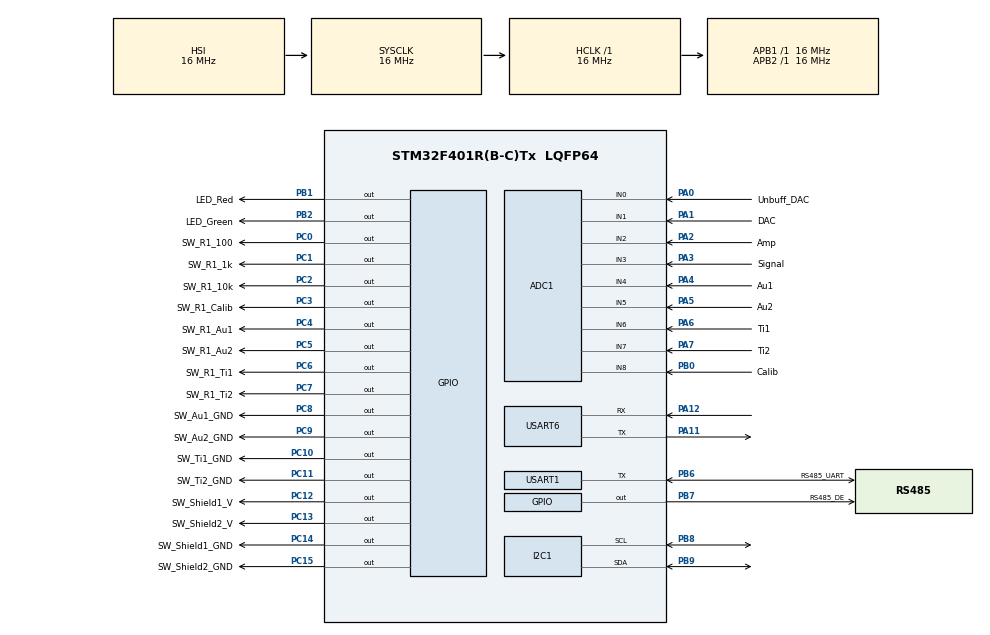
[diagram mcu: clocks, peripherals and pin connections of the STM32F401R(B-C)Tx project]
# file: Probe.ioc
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ADC1.Channel-0\#ChannelRegularConversion=ADC_CHANNEL_0
ADC1.ContinuousConvMode=DISABLE
ADC1.DiscontinuousConvMode=ENABLE
ADC1.NbrOfConversionFlag=1
ADC1.Rank-0\#ChannelRegularConversion=1
ADC1.SamplingTime-0\#ChannelRegularConversion=ADC_SAMPLETIME_3CYCLES
ADC1.ScanConvMode=ENABLE
ADC1.master=1
Mcu.Family=STM32F4
Mcu.Name=STM32F401R(B-C)Tx
Mcu.Package=LQFP64
NVIC.PriorityGroup=NVIC_PRIORITYGROUP_4
NVIC.USART1_IRQn=true\:0\:0\:false\:true\:true\:1\:true\:true\:true
NVIC.USART6_IRQn=true\:0\:0\:false\:true\:true\:2\:true\:true\:true
PA0-WKUP.GPIO_Label=Unbuff_DAC
PA0-WKUP.Signal=ADCx_IN0
PA1.GPIO_Label=DAC
PA1.Signal=ADCx_IN1
PA11.Mode=Asynchronous
PA11.Signal=USART6_TX
PA12.Mode=Asynchronous
PA12.Signal=USART6_RX
PA13.Mode=Serial_Wire
PA13.Signal=SYS_JTMS-SWDIO
PA14.Mode=Serial_Wire
PA14.Signal=SYS_JTCK-SWCLK
PA2.GPIO_Label=Amp
PA2.Signal=ADCx_IN2
PA3.GPIO_Label=Signal
PA3.Signal=ADCx_IN3
PA4.GPIO_Label=Au1
PA4.Signal=ADCx_IN4
PA5.GPIO_Label=Au2
PA5.Signal=ADCx_IN5
PA6.GPIO_Label=Ti1
PA6.Signal=ADCx_IN6
PA7.GPIO_Label=Ti2
PA7.Signal=ADCx_IN7
PB0.GPIO_Label=Calib
PB0.Signal=ADCx_IN8
PB1.GPIO_Label=LED_Red
PB1.Signal=GPIO_Output
PB2.GPIO_Label=LED_Green
PB2.Signal=GPIO_Output
PB6.GPIO_Label=RS485_UART
PB6.Mode=Half_duplex(single_wire_mode)
PB6.Signal=USART1_TX
PB7.GPIO_Label=RS485_DE
PB7.Signal=GPIO_Output
PB8.Mode=I2C
PB8.Signal=I2C1_SCL
PB9.Mode=I2C
PB9.Signal=I2C1_SDA
PC0.GPIO_Label=SW_R1_100
PC0.Signal=GPIO_Output
PC1.GPIO_Label=SW_R1_1k
PC1.Signal=GPIO_Output
PC10.GPIO_Label=SW_Ti1_GND
PC10.Signal=GPIO_Output
PC11.GPIO_Label=SW_Ti2_GND
PC11.Signal=GPIO_Output
PC12.GPIO_Label=SW_Shield1_V
PC12.Signal=GPIO_Output
PC13-ANTI_TAMP.GPIO_Label=SW_Shield2_V
PC13-ANTI_TAMP.Signal=GPIO_Output
PC14-OSC32_IN.GPIO_Label=SW_Shield1_GND
PC14-OSC32_IN.Signal=GPIO_Output
PC15-OSC32_OUT.GPIO_Label=SW_Shield2_GND
PC15-OSC32_OUT.Signal=GPIO_Output
PC2.GPIO_Label=SW_R1_10k
PC2.Signal=GPIO_Output
PC3.GPIO_Label=SW_R1_Calib
PC3.Signal=GPIO_Output
PC4.GPIO_Label=SW_R1_Au1
PC4.Signal=GPIO_Output
PC5.GPIO_Label=SW_R1_Au2
PC5.Signal=GPIO_Output
PC6.GPIO_Label=SW_R1_Ti1
PC6.Signal=GPIO_Output
PC7.GPIO_Label=SW_R1_Ti2
PC7.Signal=GPIO_Output
PC8.GPIO_Label=SW_Au1_GND
PC8.Signal=GPIO_Output
PC9.GPIO_Label=SW_Au2_GND
PC9.Signal=GPIO_Output
ProjectManager.HeapSize=0x200
ProjectManager.StackSize=0x400
ProjectManager.TargetToolchain=Makefile
RCC.AHBFreq_Value=16000000
RCC.APB1Freq_Value=16000000
RCC.APB2Freq_Value=16000000
RCC.CortexFreq_Value=16000000
RCC.HSE_VALUE=25000000
RCC.HSI_VALUE=16000000
RCC.LSE_VALUE=32768
RCC.SYSCLKFreq_VALUE=16000000
RCC.VCOOutputFreq_Value=192000000
SH.ADCx_IN0.0=ADC1_IN0,IN0
SH.ADCx_IN1.0=ADC1_IN1,IN1
SH.ADCx_IN2.0=ADC1_IN2,IN2
SH.ADCx_IN3.0=ADC1_IN3,IN3
SH.ADCx_IN4.0=ADC1_IN4,IN4
SH.ADCx_IN5.0=ADC1_IN5,IN5
SH.ADCx_IN6.0=ADC1_IN6,IN6
SH.ADCx_IN7.0=ADC1_IN7,IN7
SH.ADCx_IN8.0=ADC1_IN8,IN8
TIM10.Period=65535
TIM10.Prescaler=16-1
USART1.VirtualMode=VM_ASYNC
USART6.VirtualMode=VM_ASYNC
VP_TIM10_VS_ClockSourceINT.Mode=Enable_Timer
board=custom

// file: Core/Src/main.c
/* USER CODE BEGIN Header */
/**
 ******************************************************************************
 * @file           : main.c
 * @brief          : Main program body
 ******************************************************************************
 * @attention
 *
 * Copyright (c) 2024 STMicroelectronics.
 * All rights reserved.
 *
 * This software is licensed under terms that can be found in the LICENSE file
 * in the root directory of this software component.
 * If no LICENSE file comes with this software, it is provided AS-IS.
 *
 ******************************************************************************
 */
/* USER CODE END Header */
#include "main.h"
#include "adc.h"
#include "i2c.h"
#include "tim.h"
#include "usart.h"
#include "gpio.h"

/* USER CODE BEGIN Includes */
#include "voltage.h"
#include "salinity.h"
#include "RS485.h"
#include "ProbeConfig.h"
#include <stdio.h>
#include <string.h>
/* USER CODE END Includes */

/* USER CODE BEGIN PTD */
typedef enum
{
    TASK_NONE = 0x00,
    TASK_MEASURE_TEMPERATURE = 0x01,
    TASK_MEASURE_DEPTH = 0x02,
    TASK_MEASURE_RESISTANCE = 0x03,
    TASK_MEASURE_CONDUCTIVITY = 0x04,
    TASK_MEASURE_SALINITY = 0x05,
    TASK_WAITING_FOR_CONFIG = 0x06,
    TASK_WAITING_FOR_CALIB_SALINITY = 0x07,
    TASK_CALIBRATING = 0x08,
} Task;

typedef enum
{
    SAMPLE_VOLTAGE = 0x00,
    SAMPLE_RESISTANCE = 0x01,
    VALUE_CONDUCTIVITY = 0x02,
    VALUE_TEMPERATURE = 0x03,
    VALUE_PRESSURE = 0x04,
    VALUE_SALINITY = 0x05,
} Sample_Type;
/* USER CODE END PTD */

/* USER CODE BEGIN PV */
Task current_task = TASK_NONE;
uint8_t rx_buffer[CONFIG_PACKET_SIZE];
RS485_Status status = STATUS_IDLE;
ProbeConfig_TypeDef probe_config = {Au_Shielded, R1_100, BIDIRECTIONAL, 512, 512, 1, 2, STANARD_CONDUCTIVITY, 50};
double calib_salinity = 0;
/* USER CODE END PV */

void SystemClock_Config(void);
static void MX_NVIC_Init(void);
/* USER CODE BEGIN PFP */
void rs485_transmit(uint8_t *data, uint16_t size);
void rs485_transmit_double(double value);
void rs485_receive_IT(uint16_t size);
void transmit_sample_data_readable(void *samples, uint16_t num_samples, Sample_Type sample_type);
void transmit_sample_data_binary(void *samples, uint16_t num_samples, Sample_Type sample_type);
/* USER CODE END PFP */

int main(void)
{

    /* MCU Configuration--------------------------------------------------------*/

    /* Reset of all peripherals, Initializes the Flash interface and the Systick. */
    HAL_Init();

    /* Configure the system clock */
    SystemClock_Config();

    /* Initialize all configured peripherals */
    MX_GPIO_Init();
    MX_ADC1_Init();
    MX_I2C1_Init();
    MX_USART1_UART_Init();
    MX_USART6_UART_Init();
    MX_TIM10_Init();

    /* Initialize interrupts */
    MX_NVIC_Init();
    /* USER CODE BEGIN 2 */
    voltage_init();
    /* USER CODE END 2 */

    /* Infinite loop */
    /* USER CODE BEGIN WHILE */
    double pressure, temperature, resistance, conductivity, salinity;
    VoltageSample_TypeDef voltage_samples[MAX_SAMPLES];
    ResistanceSample_TypeDef resistance_samples[MAX_SAMPLES];
    memset(voltage_samples, 0, sizeof(voltage_samples));
    rs485_receive_IT(1);

    while (1)
    {

        switch (current_task)
        {
        case TASK_NONE:
            HAL_GPIO_WritePin(LED_Green_GPIO_Port, LED_Green_Pin, GPIO_PIN_RESET);
            break;
        case TASK_MEASURE_TEMPERATURE:
            status = STATUS_BUSY;
            current_task = TASK_NONE;

            temperature = measure_temperature();
            HAL_UART_Abort_IT(&huart1);
            rs485_transmit_double(temperature);

            status = STATUS_IDLE;
            rs485_receive_IT(1);
            break;
        case TASK_MEASURE_DEPTH:
            status = STATUS_BUSY;
            current_task = TASK_NONE;

            pressure = measure_pressure();
            HAL_UART_Abort_IT(&huart1);
            rs485_transmit_double(pressure);

            status = STATUS_IDLE;
            rs485_receive_IT(1);
            break;
        case TASK_MEASURE_RESISTANCE:
            status = STATUS_BUSY;
            current_task = TASK_NONE;

            measure_voltage_sweep(
                voltage_samples,
                probe_config.direction,
                probe_config.r1,
                probe_config.electrode,
                probe_config.voltage_start,
                probe_config.voltage_end,
                probe_config.num_samples,
                probe_config.adc_samples,
                probe_config.voltage_settle_time,
                0);
            calculate_resistance(voltage_samples, resistance_samples, probe_config.num_samples);

            resistance = calculate_average_resistance(resistance_samples, probe_config.num_samples);

            HAL_UART_Abort_IT(&huart1);
            rs485_transmit_double(resistance);

            status = STATUS_IDLE;
            rs485_receive_IT(1);
            break;
        case TASK_MEASURE_CONDUCTIVITY:
            status = STATUS_BUSY;
            current_task = TASK_NONE;

            measure_voltage_sweep(
                voltage_samples,
                probe_config.direction,
                probe_config.r1,
                probe_config.electrode,
                probe_config.voltage_start,
                probe_config.voltage_end,
                probe_config.num_samples,
                probe_config.adc_samples,
                probe_config.voltage_settle_time,
                0);
            calculate_resistance(voltage_samples, resistance_samples, probe_config.num_samples);

            conductivity = calculate_conductivity(probe_config.electrode, resistance_samples, probe_config.num_samples);

            HAL_UART_Abort_IT(&huart1);
            rs485_transmit_double(conductivity);

            status = STATUS_IDLE;
            rs485_receive_IT(1);
            break;
        case TASK_MEASURE_SALINITY:
            status = STATUS_BUSY;
            current_task = TASK_NONE;

            measure_voltage_sweep(
                voltage_samples,
                probe_config.direction,
                probe_config.r1,
                probe_config.electrode,
                probe_config.voltage_start,
                probe_config.voltage_end,
                probe_config.num_samples,
                probe_config.adc_samples,
                probe_config.voltage_settle_time,
                0);
            calculate_resistance(voltage_samples, resistance_samples, probe_config.num_samples);

            conductivity = calculate_conductivity(probe_config.electrode, resistance_samples, probe_config.num_samples);
            temperature = measure_temperature();
            pressure = measure_pressure();

            salinity = calculate_salinity(conductivity, temperature, pressure, (double)probe_config.stardard_conductivity / 1e6);
            HAL_UART_Abort_IT(&huart1);
            rs485_transmit_double(salinity);

            status = STATUS_IDLE;
            rs485_receive_IT(1);
            break;
        case TASK_CALIBRATING:
            status = STATUS_BUSY;
            current_task = TASK_NONE;

            measure_voltage_sweep(
                voltage_samples,
                probe_config.direction,
                probe_config.r1,
                probe_config.electrode,
                probe_config.voltage_start,
                probe_config.voltage_end,
                probe_config.num_samples,
                probe_config.adc_samples,
                probe_config.voltage_settle_time,
                0);
            calculate_resistance(voltage_samples, resistance_samples, probe_config.num_samples);

            conductivity = calculate_conductivity(probe_config.electrode, resistance_samples, probe_config.num_samples);
            temperature = measure_temperature();
            pressure = measure_pressure();

            double standard_conductivity = STANARD_CONDUCTIVITY/1e6;
            double change = 1;
            while (calib_salinity > calculate_salinity(conductivity, temperature, pressure, standard_conductivity))
            {
                standard_conductivity /= 2;
            }
            while (change > ((double) 1/256))
            {
                if (calculate_salinity(conductivity, temperature, pressure, standard_conductivity) > calib_salinity)
                {
                    standard_conductivity += change;
                }
                else
                {
                    standard_conductivity -= change;
                    change /= 2;
                }
            }

            HAL_UART_Abort_IT(&huart1);
            probe_config.stardard_conductivity = (uint32_t) (standard_conductivity * 1e6);
            rs485_transmit((uint8_t *) &probe_config.stardard_conductivity, sizeof(uint32_t));

            status = STATUS_IDLE;
            rs485_receive_IT(1);
            break;
        default:
            break;
        }

        /* USER CODE END WHILE */

    }
}

void SystemClock_Config(void)
{
    RCC_OscInitTypeDef RCC_OscInitStruct = {0};
    RCC_ClkInitTypeDef RCC_ClkInitStruct = {0};

    /** Configure the main internal regulator output voltage
     */
    __HAL_RCC_PWR_CLK_ENABLE();
    __HAL_PWR_VOLTAGESCALING_CONFIG(PWR_REGULATOR_VOLTAGE_SCALE2);

    /** Initializes the RCC Oscillators according to the specified parameters
     * in the RCC_OscInitTypeDef structure.
     */
    RCC_OscInitStruct.OscillatorType = RCC_OSCILLATORTYPE_HSI;
    RCC_OscInitStruct.HSIState = RCC_HSI_ON;
    RCC_OscInitStruct.HSICalibrationValue = RCC_HSICALIBRATION_DEFAULT;
    RCC_OscInitStruct.PLL.PLLState = RCC_PLL_NONE;
    if (HAL_RCC_OscConfig(&RCC_OscInitStruct) != HAL_OK)
    {
        Error_Handler();
    }

    /** Initializes the CPU, AHB and APB buses clocks
     */
    RCC_ClkInitStruct.ClockType = RCC_CLOCKTYPE_HCLK | RCC_CLOCKTYPE_SYSCLK | RCC_CLOCKTYPE_PCLK1 | RCC_CLOCKTYPE_PCLK2;
    RCC_ClkInitStruct.SYSCLKSource = RCC_SYSCLKSOURCE_HSI;
    RCC_ClkInitStruct.AHBCLKDivider = RCC_SYSCLK_DIV1;
    RCC_ClkInitStruct.APB1CLKDivider = RCC_HCLK_DIV1;
    RCC_ClkInitStruct.APB2CLKDivider = RCC_HCLK_DIV1;

    if (HAL_RCC_ClockConfig(&RCC_ClkInitStruct, FLASH_LATENCY_0) != HAL_OK)
    {
        Error_Handler();
    }
}

/**
 * @brief NVIC Configuration.
 * @retval None
 */
static void MX_NVIC_Init(void)
{
    /* USART1_IRQn interrupt configuration */
    HAL_NVIC_SetPriority(USART1_IRQn, 0, 0);
    HAL_NVIC_EnableIRQ(USART1_IRQn);
    /* USART6_IRQn interrupt configuration */
    HAL_NVIC_SetPriority(USART6_IRQn, 0, 0);
    HAL_NVIC_EnableIRQ(USART6_IRQn);
}

/* USER CODE BEGIN 4 */

void HAL_UART_RxCpltCallback(UART_HandleTypeDef *huart)
{
    HAL_GPIO_WritePin(LED_Green_GPIO_Port, LED_Green_Pin, GPIO_PIN_SET);
    uint8_t response;
    if (huart->Instance == USART1)
    {
        if (current_task == TASK_WAITING_FOR_CONFIG)
        {
            current_task = TASK_NONE;
            response = RESPONSE_ACK;
            rs485_transmit(&response, 1);

            memcpy(&probe_config, rx_buffer, sizeof(ProbeConfig_TypeDef));

            rs485_receive_IT(1);
        }
        else if (current_task == TASK_WAITING_FOR_CALIB_SALINITY)
        {
            current_task = TASK_CALIBRATING;
            uint16_t calib = *((uint16_t*) rx_buffer);
            calib_salinity = (double) calib / 10;
        }
        else
        {
            switch ((RS485_Command)rx_buffer[0])
            {
            case COMMAND_GET_STATUS:
                rs485_transmit((uint8_t *)&status, 1);
                rs485_receive_IT(1);
                break;
            case COMMAND_GET_TEMPERATURE:
                current_task = TASK_MEASURE_TEMPERATURE;
                rs485_receive_IT(1);
                break;
            case COMMAND_GET_DEPTH:
                current_task = TASK_MEASURE_DEPTH;
                rs485_receive_IT(1);
                break;
            case COMMAND_GET_RESISTANCE:
                current_task = TASK_MEASURE_RESISTANCE;
                rs485_receive_IT(1);
                break;
            case COMMAND_GET_CONDUCTIVITY:
                current_task = TASK_MEASURE_CONDUCTIVITY;
                rs485_receive_IT(1);
                break;
            case COMMAND_GET_SALINITY:
                current_task = TASK_MEASURE_SALINITY;
                rs485_receive_IT(1);
                break;
            case COMMAND_SET_CONFIG:
                current_task = TASK_WAITING_FOR_CONFIG;
                response = RESPONSE_ACK;
                rs485_transmit(&response, 1);
                rs485_receive_IT(CONFIG_PACKET_SIZE);
                break;
            case COMMAND_CALIBRATE:
                current_task = TASK_WAITING_FOR_CALIB_SALINITY;
                response = RESPONSE_ACK;
                rs485_transmit(&response, 1);
                rs485_receive_IT(2);
                break;
            case COMMAND_RESET:
                HAL_NVIC_SystemReset();
                break;
            default:
                response = RESPONSE_NACK;
                rs485_transmit(&response, 1);
                rs485_receive_IT(1);
            }
        }
    }
}

void rs485_transmit(uint8_t *data, uint16_t size)
{
    HAL_GPIO_WritePin(RS485_DE_GPIO_Port, RS485_DE_Pin, GPIO_PIN_SET);
    if (HAL_HalfDuplex_EnableTransmitter(&huart1) != HAL_OK)
    {
        Error_Handler();
    }
    if (HAL_UART_Transmit(&huart1, data, size, 1000) != HAL_OK)
    {
        Error_Handler();
    }
}

void rs485_transmit_double(double value)
{
    if ((value >= 1000) | (value <= -100))
    {
        uint8_t digits[3] = {NEGATIVE_SIGN, NEGATIVE_SIGN, NEGATIVE_SIGN};
        return rs485_transmit(digits, DATA_PACKET_SIZE);
    }

    uint8_t digits[3];

    if (value == 0)
    {
        digits[0] = DECIMAL_POINT;
        digits[1] = 0;
        digits[2] = 0;
    }
    else if (value > 0)
    {
        int8_t log_value = (int8_t)log10(value);
        if (log_value > 0)
        {
            value = value * pow(10, -log_value);
        }

        digits[0] = (uint8_t)value;
        value = fmod(value, 1) * 10;
        digits[1] = (uint8_t)value;
        value = fmod(value, 1) * 10;
        digits[2] = (uint8_t)round(value);

        if (log_value > 0)
        {
            if (log_value < 2)
            {
                digits[log_value] |= DECIMAL_POINT;
            }
        }
        else
        {

            digits[0] |= DECIMAL_POINT;
        }
    }
    else
    {
        value = -value;
        int8_t log_value = (int8_t)log10(value) + 1;
        if (log_value > 0)
        {
            value = value * pow(10, -log_value);
        }
        else if (log_value == 0)
        {
            value = value / 10;
        }

        digits[0] = NEGATIVE_SIGN;
        value = fmod(value, 1) * 10;
        digits[1] = (uint8_t)value;
        value = fmod(value, 1) * 10;
        digits[2] = (uint8_t)round(value);

        if (log_value > 0)
        {
            if (log_value < 2)
            {
                digits[log_value] |= DECIMAL_POINT;
            }
        }
        else
        {
            digits[1] |= DECIMAL_POINT;
        }
    }

    return rs485_transmit(digits, DATA_PACKET_SIZE);
}

void rs485_receive_IT(uint16_t size)
{
    HAL_GPIO_WritePin(RS485_DE_GPIO_Port, RS485_DE_Pin, GPIO_PIN_RESET);
    if (HAL_HalfDuplex_EnableReceiver(&huart1) != HAL_OK)
    {
        Error_Handler();
    }
    if (HAL_UART_Receive_IT(&huart1, rx_buffer, size) != HAL_OK)
    {
        Error_Handler();
    }
}

void transmit_sample_data_readable(void *samples, uint16_t num_samples, Sample_Type sample_type)
{
    switch (sample_type)
    {
    case SAMPLE_VOLTAGE:
        VoltageSample_TypeDef *voltage_samples = (VoltageSample_TypeDef *)samples;
        for (uint16_t i = 0; i < num_samples; i++)
        {
            char buf[128];
            sprintf(buf, "DAC Input: %.2f, DAC Output: %.2f, Calib x 11: %.3f, Measurement x 11: %.3f\n", (float)voltage_samples[i].dac_input / 1024 * 3.3, (float)voltage_samples[i].dac_output / 4096 * 3.3, (float)voltage_samples[i].calib / 4096 * 3.3, (float)voltage_samples[i].measurement / 4096 * 3.3);
            HAL_UART_Transmit(&huart6, (uint8_t *)buf, strlen(buf), 1000);
        }
        break;
    case SAMPLE_RESISTANCE:
        ResistanceSample_TypeDef *resistance_samples = (ResistanceSample_TypeDef *)samples;
        for (uint16_t i = 0; i < num_samples; i++)
        {
            char buf[64];
            sprintf(buf, "Voltage: %.2f, Resistance: %.2f\n", (float)resistance_samples[i].voltage / 4096 * 3.3, resistance_samples[i].resistance);
            HAL_UART_Transmit(&huart6, (uint8_t *)buf, strlen(buf), 1000);
        }
        break;
    case VALUE_CONDUCTIVITY:
        double *conductivity_values = (double *)samples;
        for (uint16_t i = 0; i < num_samples; i++)
        {
            char buf[64];
            sprintf(buf, "Conductivity: %.3f\n", conductivity_values[i]);
            HAL_UART_Transmit(&huart6, (uint8_t *)buf, strlen(buf), 1000);
        }
        break;
    case VALUE_TEMPERATURE:
        double *temperature_values = (double *)samples;
        for (uint16_t i = 0; i < num_samples; i++)
        {
            char buf[64];
            sprintf(buf, "\n\nTemperature: %.1f", temperature_values[i]);
            HAL_UART_Transmit(&huart6, (uint8_t *)buf, strlen(buf), 1000);
        }
        break;
    case VALUE_PRESSURE:
        double *pressure_values = (double *)samples;
        for (uint16_t i = 0; i < num_samples; i++)
        {
            char buf[64];
            sprintf(buf, "Pressure: %.3f\n", pressure_values[i]);
            HAL_UART_Transmit(&huart6, (uint8_t *)buf, strlen(buf), 1000);
        }
        break;
    case VALUE_SALINITY:
        double *salinity_values = (double *)samples;
        for (uint16_t i = 0; i < num_samples; i++)
        {
            char buf[64];
            sprintf(buf, "Salinity: %.3f\n", salinity_values[i]);
            HAL_UART_Transmit(&huart6, (uint8_t *)buf, strlen(buf), 1000);
        }
        break;
    }
}

void transmit_sample_data_binary(void *samples, uint16_t num_samples, Sample_Type sample_type)
{
    switch (sample_type)
    {
    case SAMPLE_VOLTAGE:
        VoltageSample_TypeDef *voltage_samples = (VoltageSample_TypeDef *)samples;
        char buf[] = "\n\n|DAC Input|DAC Output|Calib x 11|Measurement x 11|\n";
        HAL_UART_Transmit(&huart6, (uint8_t *)buf, strlen(buf), 1000);
        for (uint16_t i = 0; i < num_samples; i++)
        {
            sprintf(buf, "%d,%d,%d,%d;", voltage_samples[i].dac_input, voltage_samples[i].dac_output, voltage_samples[i].calib, voltage_samples[i].measurement);
            HAL_UART_Transmit(&huart6, (uint8_t *)buf, strlen(buf), 1000);
        }
        break;
    case SAMPLE_RESISTANCE:
        // ResistanceSample_TypeDef *resistance_samples = (ResistanceSample_TypeDef *)samples;
        break;
    case VALUE_CONDUCTIVITY:
        // double *conductivity_values = (double *)samples;
        break;
    case VALUE_TEMPERATURE:
        // double *temperature_values = (double *)samples;
        break;
    case VALUE_PRESSURE:
        // double *pressure_values = (double *)samples;
        break;
    case VALUE_SALINITY:
        // double *salinity_values = (double *)samples;
        break;
    }
}

/* USER CODE END 4 */

void Error_Handler(void)
{
    /* USER CODE BEGIN Error_Handler_Debug */
    /* User can add his own implementation to report the HAL error return state */
    __disable_irq();
    HAL_GPIO_WritePin(LED_Red_GPIO_Port, LED_Red_Pin, GPIO_PIN_SET);
    status = STATUS_ERROR;
    rs485_transmit((uint8_t *)&status, 1);
    while (1)
    {
    }
    /* USER CODE END Error_Handler_Debug */
}
